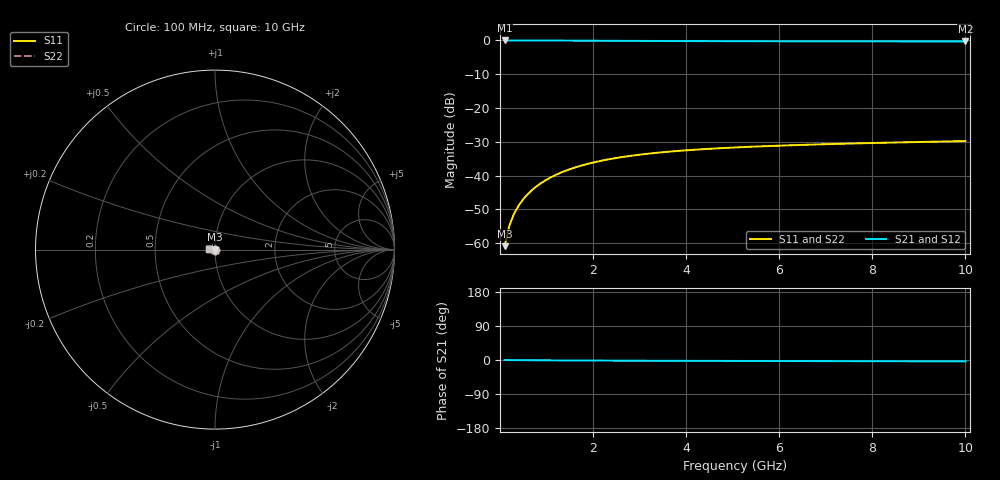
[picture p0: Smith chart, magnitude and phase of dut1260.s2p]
! Touchstone file exported from HFSS 2024.1.0
!  File:  C:/UserFiles/LocalFiles/RDL_TSV_Batchsim/temp_TSV1_1260_1780253396.aedt
!  Generated:  02:56:43 AM Jun  1, 2026
!  Design:  TSV1
!  Project:  temp_TSV1_1260_1780253396
!  Setup:  Setup1
!  Solution:  Sweep
! Variables:
!  dtsv = 11.7um
!  hbump = 3um
!  htsv = 52.48um
!  lrdl = 252.1521522um
!  p = 40
!  p1 = 55.21um
!  t = 500um
!  trdl = 3um
!  wrdl = 24.89489489um
# GHz S MA R 50.000000
! Terminal data exported
! Port[1] = TSV22_T1
! Port[2] = TSV22_T2
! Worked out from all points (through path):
!   100 points, 100 MHz to 10 GHz, reference 50 ohm
!   highest |S21| = 0.00 dB at 100 MHz (marker M1); lowest = -0.3 dB at 10 GHz (marker M2)
!   lowest |S11| = -60.9 dB at 100 MHz (marker M3), VSWR 1.00, Z = 50 - j0.0899 ohm
!   |S11| at or under -10 dB: start of sweep to end of sweep
!   |S22| runs from -60.9 to -29.8 dB; largest |S21 - S12| = 1.1e-14
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0.1  0.0009 -86.8  0.9999 -0.1  0.9999 -0.1  0.0009 -86.8
! Gamma 0 0 0 0
! Port Impedance 50 0 50 0
0.2  0.001795 -91.2  0.9998 -0.2  0.9998 -0.2  0.001795 -91.2
0.3  0.00269 -93.9  0.9996 -0.3  0.9996 -0.3  0.00269 -93.9
0.4  0.003581 -96.3  0.9994 -0.4  0.9994 -0.4  0.003581 -96.3
0.5  0.004465 -98.5  0.9991 -0.5  0.9991 -0.5  0.004465 -98.5
0.6  0.005337 -100.6  0.9988 -0.5  0.9988 -0.5  0.005337 -100.6
0.7  0.006196 -102.7  0.9984 -0.6  0.9984 -0.6  0.006196 -102.7
0.8  0.00704 -104.7  0.9979 -0.7  0.9979 -0.7  0.00704 -104.7
0.9  0.007866 -106.7  0.9975 -0.8  0.9975 -0.8  0.007866 -106.7
1.1  0.009462 -110.5  0.9964 -0.9  0.9964 -0.9  0.009462 -110.5
1.4  0.0117 -115.9  0.9946 -1.1  0.9946 -1.1  0.0117 -115.9
1.6  0.01308 -119.3  0.9933 -1.3  0.9933 -1.3  0.01308 -119.3
1.8  0.01437 -122.6  0.992 -1.4  0.992 -1.4  0.01437 -122.6
2.1  0.01613 -127.2  0.9899 -1.6  0.9899 -1.6  0.01613 -127.2
2.5  0.01819 -132.9  0.9873 -1.7  0.9873 -1.7  0.01819 -132.9
2.9  0.01996 -138.0  0.9849 -1.9  0.9849 -1.9  0.01996 -138.0
3.4  0.02181 -143.7  0.9821 -2.1  0.9821 -2.1  0.02181 -143.7
4.2  0.02415 -151.7  0.9783 -2.3  0.9783 -2.3  0.02415 -151.7
5.1  0.02614 -159.1  0.975 -2.5  0.975 -2.5  0.02614 -159.1
6.7  0.02871 -169.9  0.971 -2.9  0.971 -2.9  0.02871 -169.9
8.4  0.03075 -179.0  0.9682 -3.3  0.9682 -3.3  0.03075 -179.0
10  0.03237 173.8  0.9664 -3.6  0.9664 -3.6  0.03237 173.8
